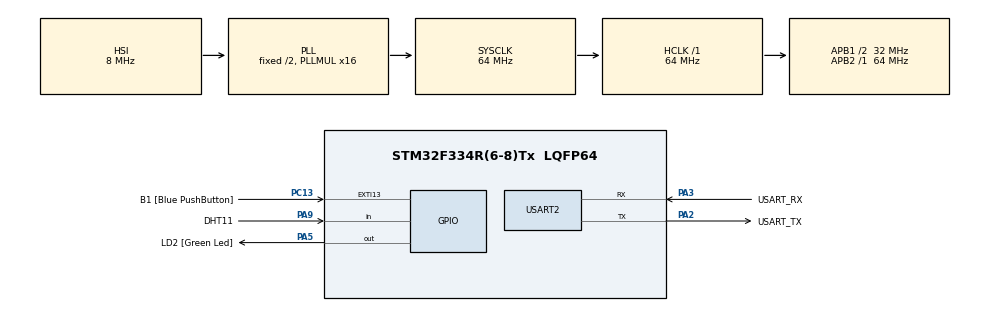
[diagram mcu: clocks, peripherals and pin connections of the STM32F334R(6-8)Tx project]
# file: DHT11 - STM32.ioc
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Mcu.Family=STM32F3
Mcu.Name=STM32F334R(6-8)Tx
Mcu.Package=LQFP64
NVIC.PriorityGroup=NVIC_PRIORITYGROUP_0
PA13.GPIO_Label=TMS
PA13.Mode=Serial_Wire
PA13.Signal=SYS_JTMS-SWDIO
PA14.GPIO_Label=TCK
PA14.Mode=Serial_Wire
PA14.Signal=SYS_JTCK-SWCLK
PA2.GPIO_Label=USART_TX
PA2.Mode=Asynchronous
PA2.Signal=USART2_TX
PA3.GPIO_Label=USART_RX
PA3.Mode=Asynchronous
PA3.Signal=USART2_RX
PA5.GPIO_Label=LD2 [Green Led]
PA5.Signal=GPIO_Output
PA9.GPIO_Label=DHT11
PA9.Signal=GPIO_Input
PB3.GPIO_Label=SWO
PB3.Signal=SYS_JTDO-TRACESWO
PC13.GPIO_Label=B1 [Blue PushButton]
PC13.GPIO_ModeDefaultEXTI=GPIO_MODE_IT_FALLING
PC13.Signal=GPXTI13
PC14\ /\ OSC32_IN.Mode=LSE-External-Oscillator
PC14\ /\ OSC32_IN.Signal=RCC_OSC32_IN
PC15\ /\ OSC32_OUT.GPIO_Label=RCC_OSC32_OUT
PC15\ /\ OSC32_OUT.Mode=LSE-External-Oscillator
PC15\ /\ OSC32_OUT.Signal=RCC_OSC32_OUT
PF0\ /\ OSC_IN.Mode=HSE-External-Clock-Source
PF0\ /\ OSC_IN.Signal=RCC_OSC_IN
PF1\ /\ OSC_OUT.Signal=RCC_OSC_OUT
ProjectManager.HeapSize=0x200
ProjectManager.StackSize=0x400
ProjectManager.TargetToolchain=TrueSTUDIO
RCC.AHBFreq_Value=64000000
RCC.APB1CLKDivider=RCC_HCLK_DIV2
RCC.APB1Freq_Value=32000000
RCC.APB1TimFreq_Value=64000000
RCC.APB2Freq_Value=64000000
RCC.APB2TimFreq_Value=64000000
RCC.CortexFreq_Value=64000000
RCC.FLatency-AdvancedSettings=FLASH_LATENCY_2
RCC.HCLKFreq_Value=64000000
RCC.HSE_VALUE=8000000
RCC.HSI_VALUE=8000000
RCC.PLLMUL=RCC_PLL_MUL16
RCC.SYSCLKFreq_VALUE=64000000
RCC.SYSCLKSourceVirtual=RCC_SYSCLKSOURCE_PLLCLK
USART2.VirtualMode-Asynchronous=VM_ASYNC
board=NUCLEO-F334R8

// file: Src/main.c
/* USER CODE BEGIN Header */
/**
  ******************************************************************************
  * @file           : main.c
  * @brief          : Main program body
  ******************************************************************************
  * @attention
  *
  * <h2><center>&copy; Copyright (c) 2019 STMicroelectronics.
  * All rights reserved.</center></h2>
  *
  * This software component is licensed by ST under BSD 3-Clause license,
  * the "License"; You may not use this file except in compliance with the
  * License. You may obtain a copy of the License at:
  *                        opensource.org/licenses/BSD-3-Clause
  *
  ******************************************************************************
  */
/* USER CODE END Header */

#include "main.h"

/* USER CODE BEGIN Includes */
#include "dwt_delay.h"
/* USER CODE END Includes */

UART_HandleTypeDef huart2;
GPIO_InitTypeDef GPIO_InitStruct;
uint8_t rhi, rhd, ti, td;
uint8_t data[5];
uint8_t chksum;

void SystemClock_Config(void);
static void MX_GPIO_Init(void);
static void MX_USART2_UART_Init(void);
/* USER CODE BEGIN PFP */
int check = 0;
/* USER CODE END PFP */

/* USER CODE BEGIN 0 */
/*void set_GPIO_Mode(uint32_t mode){

	GPIO_InitStruct.Pin = DHT11_Pin;
	GPIO_InitStruct.Mode = mode;
	GPIO_InitStruct.Pull = GPIO_NOPULL;
	HAL_GPIO_Init(DHT11_GPIO_Port, &GPIO_InitStruct);
}*/
void set_gpio_output (void)
{
  GPIO_InitStruct.Pin = DHT11_Pin;
  GPIO_InitStruct.Mode = GPIO_MODE_OUTPUT_PP;
  GPIO_InitStruct.Pull = GPIO_NOPULL;
  GPIO_InitStruct.Speed = GPIO_SPEED_FREQ_LOW;
  HAL_GPIO_Init(DHT11_GPIO_Port, &GPIO_InitStruct);
  /*Configure GPIO pin : DHT11_Pin */

}

void set_gpio_input (void)
{
  GPIO_InitStruct.Pin = DHT11_Pin;
  GPIO_InitStruct.Mode = GPIO_MODE_INPUT;
  GPIO_InitStruct.Pull = GPIO_NOPULL;
  HAL_GPIO_Init(DHT11_GPIO_Port, &GPIO_InitStruct);
}

void DHT11_start (void)
{
	set_gpio_output();  // set the pin as output
	HAL_GPIO_WritePin (DHT11_GPIO_Port, DHT11_Pin, 0);   // pull the pin low
	DWT_Delay_us(18000);   // wait for 18ms
	set_gpio_input();   // set as input
}

void check_response (void)
{
	DWT_Delay_us(40);
	if (!(HAL_GPIO_ReadPin (DHT11_GPIO_Port, DHT11_Pin)))  // if the pin is low
	{
		DWT_Delay_us(80);  // wait for 80us
		if ((HAL_GPIO_ReadPin (DHT11_GPIO_Port, DHT11_Pin)))
			HAL_GPIO_WritePin (LD2_GPIO_Port, LD2_Pin, 1);
			//check = 1;  // now if the pin is high response = ok i.e. check =1
	}
	while ((HAL_GPIO_ReadPin (DHT11_GPIO_Port, DHT11_Pin)));   // wait for the pin to go low
}

uint8_t read_data (void)
{

	uint8_t i = 0,j;
	for (j=0;j<8;j++)
	{
		while (!(HAL_GPIO_ReadPin (DHT11_GPIO_Port, DHT11_Pin)));   // wait for the pin to go high
		DWT_Delay_us(40);   // wait for 40 us
		if ((HAL_GPIO_ReadPin (DHT11_GPIO_Port, DHT11_Pin)) == 0)   // if the pin is low
		{
			i&= ~(1<<(7-j));   // write 0
		}
		else i|= (1<<(7-j));  // if the pin is high, write 1
		while ((HAL_GPIO_ReadPin (DHT11_GPIO_Port, DHT11_Pin)));  // wait for the pin to go low
	}
	return i;

}

/* USER CODE END 0 */
/*
int main(void)
{

  /* MCU Configuration--------------------------------------------------------*/

  /* Reset of all peripherals, Initializes the Flash interface and the Systick. */
  HAL_Init();

  /* Configure the system clock */
  SystemClock_Config();

  /* Initialize all configured peripherals */
  MX_GPIO_Init();//
  MX_USART2_UART_Init();
  /* USER CODE BEGIN 2 */
  DWT_Delay_Init();

  if (HAL_UART_Init(&huart2) != HAL_OK)
          asm("bkpt 255");

  /* USER CODE END 2 */

  /* Infinite loop */
  /* USER CODE BEGIN WHILE */

  while (1)
  {

	  DHT11_start();
	  check_response();
	  data[0] = read_data(); //8 bit
	  data[1] = read_data();
	  data[2] = read_data();
	  data[3] = read_data();
	  data[4] = read_data();

	  if((data[0]+data[1]+data[2]+data[3]) == data[4]){
		  HAL_UART_Transmit(&huart2,  (uint8_t *) data, 5,HAL_MAX_DELAY);
		  HAL_Delay(3000);
	  }

	}
/*

  }
  /* USER CODE END 3 */
}

void SystemClock_Config(void)
{
  RCC_OscInitTypeDef RCC_OscInitStruct = {0};
  RCC_ClkInitTypeDef RCC_ClkInitStruct = {0};

  /** Initializes the CPU, AHB and APB busses clocks
  */
  RCC_OscInitStruct.OscillatorType = RCC_OSCILLATORTYPE_HSI;
  RCC_OscInitStruct.HSIState = RCC_HSI_ON;
  RCC_OscInitStruct.HSICalibrationValue = RCC_HSICALIBRATION_DEFAULT;
  RCC_OscInitStruct.PLL.PLLState = RCC_PLL_ON;
  RCC_OscInitStruct.PLL.PLLSource = RCC_PLLSOURCE_HSI;
  RCC_OscInitStruct.PLL.PLLMUL = RCC_PLL_MUL16;
  if (HAL_RCC_OscConfig(&RCC_OscInitStruct) != HAL_OK)
  {
    Error_Handler();
  }
  /** Initializes the CPU, AHB and APB busses clocks
  */
  RCC_ClkInitStruct.ClockType = RCC_CLOCKTYPE_HCLK|RCC_CLOCKTYPE_SYSCLK
                              |RCC_CLOCKTYPE_PCLK1|RCC_CLOCKTYPE_PCLK2;
  RCC_ClkInitStruct.SYSCLKSource = RCC_SYSCLKSOURCE_PLLCLK;
  RCC_ClkInitStruct.AHBCLKDivider = RCC_SYSCLK_DIV1;
  RCC_ClkInitStruct.APB1CLKDivider = RCC_HCLK_DIV2;
  RCC_ClkInitStruct.APB2CLKDivider = RCC_HCLK_DIV1;

  if (HAL_RCC_ClockConfig(&RCC_ClkInitStruct, FLASH_LATENCY_2) != HAL_OK)
  {
    Error_Handler();
  }
}

static void MX_USART2_UART_Init(void)
{

  huart2.Instance = USART2;
  huart2.Init.BaudRate = 38400;
  huart2.Init.WordLength = UART_WORDLENGTH_8B;
  huart2.Init.StopBits = UART_STOPBITS_1;
  huart2.Init.Parity = UART_PARITY_NONE;
  huart2.Init.Mode = UART_MODE_TX_RX;
  huart2.Init.HwFlowCtl = UART_HWCONTROL_NONE;
  huart2.Init.OverSampling = UART_OVERSAMPLING_16;
  huart2.Init.OneBitSampling = UART_ONE_BIT_SAMPLE_DISABLE;
  huart2.AdvancedInit.AdvFeatureInit = UART_ADVFEATURE_NO_INIT;
  if (HAL_UART_Init(&huart2) != HAL_OK)
  {
    Error_Handler();
  }

}

static void MX_GPIO_Init(void)
{
  GPIO_InitTypeDef GPIO_InitStruct = {0};

  /* GPIO Ports Clock Enable */
  __HAL_RCC_GPIOC_CLK_ENABLE();
  __HAL_RCC_GPIOF_CLK_ENABLE();
  __HAL_RCC_GPIOA_CLK_ENABLE();
  __HAL_RCC_GPIOB_CLK_ENABLE();

  /*Configure GPIO pin Output Level */
  HAL_GPIO_WritePin(LD2_GPIO_Port, LD2_Pin, GPIO_PIN_RESET);

  /*Configure GPIO pin : B1_Pin */
  GPIO_InitStruct.Pin = B1_Pin;
  GPIO_InitStruct.Mode = GPIO_MODE_IT_FALLING;
  GPIO_InitStruct.Pull = GPIO_NOPULL;
  HAL_GPIO_Init(B1_GPIO_Port, &GPIO_InitStruct);

  /*Configure GPIO pin : LD2_Pin */
  GPIO_InitStruct.Pin = LD2_Pin;
  GPIO_InitStruct.Mode = GPIO_MODE_OUTPUT_PP;
  GPIO_InitStruct.Pull = GPIO_NOPULL;
  GPIO_InitStruct.Speed = GPIO_SPEED_FREQ_LOW;
  HAL_GPIO_Init(LD2_GPIO_Port, &GPIO_InitStruct);

  /*Configure GPIO pin : DHT11_Pin */
  GPIO_InitStruct.Pin = DHT11_Pin;
  GPIO_InitStruct.Mode = GPIO_MODE_INPUT;
  GPIO_InitStruct.Pull = GPIO_NOPULL;
  HAL_GPIO_Init(DHT11_GPIO_Port, &GPIO_InitStruct);

}

void Error_Handler(void)
{
}

/************************ (C) COPYRIGHT STMicroelectronics *****END OF FILE****/
